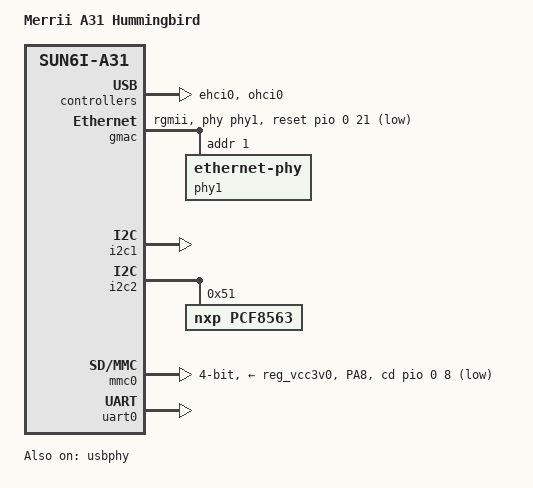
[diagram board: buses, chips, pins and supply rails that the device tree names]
/*
 * Copyright 2014 Maxime Ripard
 *
 * Maxime Ripard <maxime.ripard@free-electrons.com>
 *
 * The code contained herein is licensed under the GNU General Public
 * License. You may obtain a copy of the GNU General Public License
 * Version 2 or later at the following locations:
 *
 * http://www.opensource.org/licenses/gpl-license.html
 * http://www.gnu.org/copyleft/gpl.html
 */

/dts-v1/;
#include "sun6i-a31.dtsi"
#include "sunxi-common-regulators.dtsi"

#include <dt-bindings/gpio/gpio.h>
#include <dt-bindings/pinctrl/sun4i-a10.h>

/ {
	model = "Merrii A31 Hummingbird";
	compatible = "merrii,a31-hummingbird", "allwinner,sun6i-a31";

	chosen {
		bootargs = "earlyprintk console=ttyS0,115200";
	};
};

&ehci0 {
	status = "okay";
};

&gmac {
	pinctrl-names = "default";
	pinctrl-0 = <&gmac_pins_rgmii_a>;
	phy = <&phy1>;
	phy-mode = "rgmii";
	snps,reset-gpio = <&pio 0 21 GPIO_ACTIVE_HIGH>;
	snps,reset-active-low;
	snps,reset-delays-us = <0 10000 30000>;
	status = "okay";

	phy1: ethernet-phy@1 {
		reg = <1>;
	};
};

&i2c0 {
	pinctrl-names = "default";
	pinctrl-0 = <&i2c0_pins_a>;
	/* pull-ups and devices require AXP221 DLDO3 */
	status = "failed";
};

&i2c1 {
	pinctrl-names = "default";
	pinctrl-0 = <&i2c1_pins_a>;
	status = "okay";
};

&i2c2 {
	pinctrl-names = "default";
	pinctrl-0 = <&i2c2_pins_a>;
	status = "okay";

	pcf8563: rtc@51 {
		compatible = "nxp,pcf8563";
		reg = <0x51>;
	};
};

&mmc0 {
	pinctrl-names = "default";
	pinctrl-0 = <&mmc0_pins_a>, <&mmc0_cd_pin_hummingbird>;
	vmmc-supply = <&reg_vcc3v0>;
	bus-width = <4>;
	cd-gpios = <&pio 0 8 GPIO_ACTIVE_HIGH>; /* PA8 */
	cd-inverted;
	status = "okay";
};

&mmc0_pins_a {
	/* external pull-ups missing for some pins */
	allwinner,pull = <SUN4I_PINCTRL_PULL_UP>;
};

&ohci0 {
	status = "okay";
};

&pio {
	mmc0_cd_pin_hummingbird: mmc0_cd_pin@0 {
		allwinner,pins = "PA8";
		allwinner,function = "gpio_in";
		allwinner,drive = <SUN4I_PINCTRL_10_MA>;
		allwinner,pull = <SUN4I_PINCTRL_PULL_UP>;
	};
};

&reg_usb1_vbus {
	gpio = <&pio 7 24 GPIO_ACTIVE_HIGH>; /* PH24 */
	status = "okay";
};

&uart0 {
	pinctrl-names = "default";
	pinctrl-0 = <&uart0_pins_a>;
	status = "okay";
};

&usb1_vbus_pin_a {
	/* different pin from sunxi-common-regulators */
	allwinner,pins = "PH24";
};

&usbphy {
	usb1_vbus-supply = <&reg_usb1_vbus>;
	status = "okay";
};
